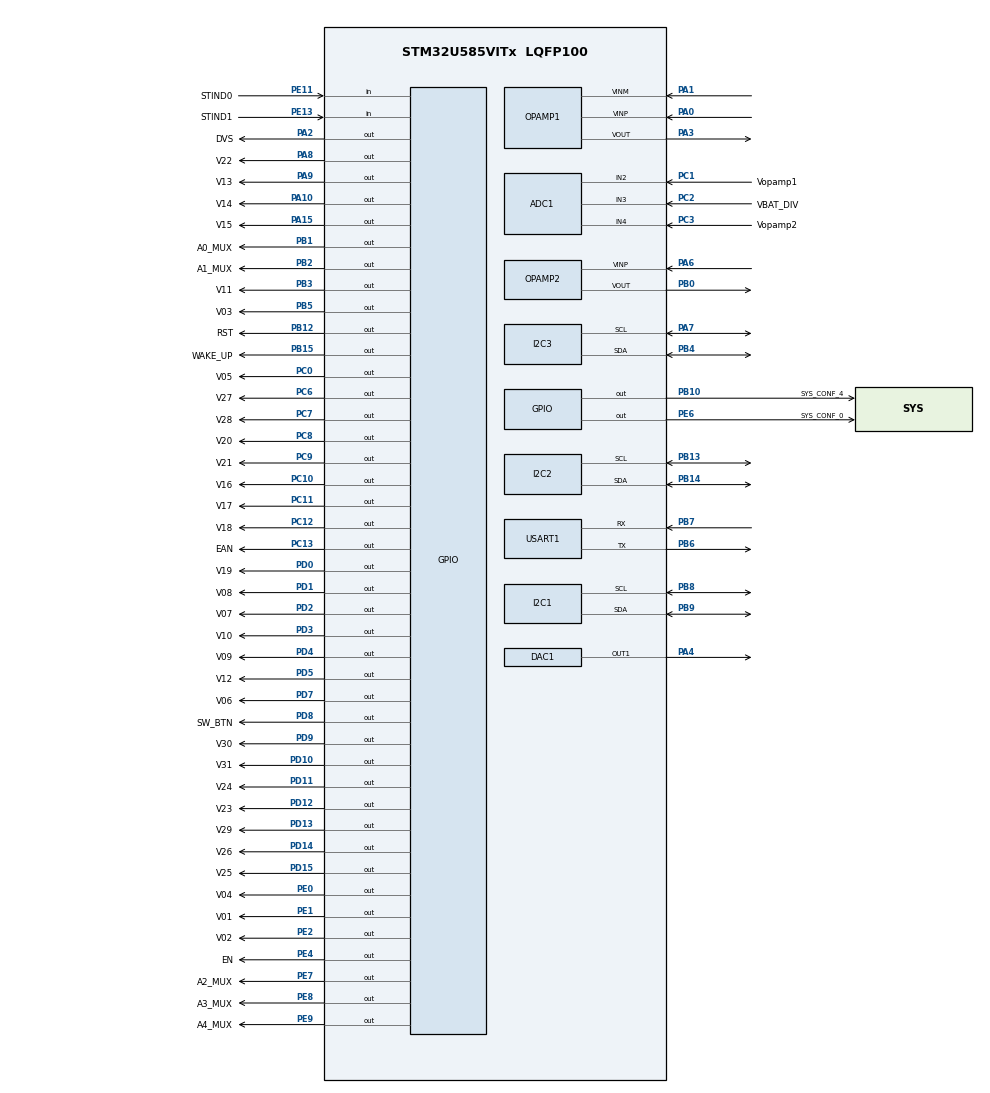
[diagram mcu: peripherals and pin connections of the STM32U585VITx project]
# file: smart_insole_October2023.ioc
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ADC1.Channel-0\#ChannelRegularConversion=ADC_CHANNEL_2
ADC1.ClockPrescaler=ADC_CLOCK_ASYNC_DIV4
ADC1.ContinuousConvMode=ENABLE
ADC1.EnableRegularConversion=ENABLE
ADC1.GainCompensation=0
ADC1.MonitoredBy-0\#ChannelRegularConversion=__NULL
ADC1.NbrOfConversion=1
ADC1.NbrOfConversionFlag=1
ADC1.OffsetNumber-0\#ChannelRegularConversion=ADC_OFFSET_NONE
ADC1.Rank-0\#ChannelRegularConversion=1
ADC1.SamplingTime-0\#ChannelRegularConversion=ADC_SAMPLETIME_5CYCLE
ADC1.master=1
CORTEX_M33_NS.userName=CORTEX_M33
DAC1.DAC_Channel-DAC_OUT1=DAC_CHANNEL_1
I2C1.Timing=0x00000E14
I2C2.Timing=0x00000E14
I2C3.Timing=0x00000E14
Mcu.Family=STM32U5
Mcu.Name=STM32U585VITx
Mcu.Package=LQFP100
NVIC.PriorityGroup=NVIC_PRIORITYGROUP_4
NVIC.TIM1_BRK_IRQn=true\:0\:0\:false\:false\:true\:true\:true\:true
NVIC.TIM1_CC_IRQn=true\:0\:0\:false\:false\:true\:true\:true\:true
NVIC.TIM1_TRG_COM_IRQn=true\:0\:0\:false\:false\:true\:true\:true\:true
NVIC.TIM1_UP_IRQn=true\:0\:0\:false\:false\:true\:true\:true\:true
NVIC.TIM2_IRQn=true\:0\:0\:false\:false\:true\:true\:true\:true
OPAMP1.PgaGain=OPAMP_PGA_GAIN_4
PA0.Mode=PGA Connected
PA0.Signal=OPAMP1_VINP
PA1.Mode=PGA Connected
PA1.Signal=OPAMP1_VINM
PA10.GPIO_Label=V14
PA10.Signal=GPIO_Output
PA11.Signal=USART1_CTS
PA12.Signal=USART1_RTS
PA13\ (JTMS/SWDIO).Signal=DEBUG_JTMS-SWDIO
PA14\ (JTCK/SWCLK).Signal=DEBUG_JTCK-SWCLK
PA15\ (JTDI).GPIO_Label=V15
PA15\ (JTDI).Signal=GPIO_Output
PA2.GPIO_Label=DVS
PA2.Signal=GPIO_Output
PA3.Mode=PGA Connected
PA3.Signal=OPAMP1_VOUT
PA4.Signal=COMP_DAC11_group
PA6.Mode=Follower
PA6.Signal=OPAMP2_VINP
PA7.Mode=I2C
PA7.Signal=I2C3_SCL
PA8.GPIO_Label=V22
PA8.Signal=GPIO_Output
PA9.GPIO_Label=V13
PA9.Signal=GPIO_Output
PB0.Mode=Follower
PB0.Signal=OPAMP2_VOUT
PB1.GPIO_Label=A0_MUX
PB1.Signal=GPIO_Output
PB10.GPIO_Label=SYS_CONF_4
PB10.Signal=GPIO_Output
PB12.GPIO_Label=RST
PB12.Signal=GPIO_Output
PB13.Mode=I2C
PB13.Signal=I2C2_SCL
PB14.Mode=I2C
PB14.Signal=I2C2_SDA
PB15.GPIO_Label=WAKE_UP
PB15.Signal=GPIO_Output
PB2.GPIO_Label=A1_MUX
PB2.Signal=GPIO_Output
PB3\ (JTDO/TRACESWO).GPIO_Label=V11
PB3\ (JTDO/TRACESWO).Signal=GPIO_Output
PB4\ (NJTRST).Mode=I2C
PB4\ (NJTRST).Signal=I2C3_SDA
PB5.GPIO_Label=V03
PB5.Signal=GPIO_Output
PB6.Mode=Asynchronous
PB6.Signal=USART1_TX
PB7.Mode=Asynchronous
PB7.Signal=USART1_RX
PB8.Mode=I2C
PB8.Signal=I2C1_SCL
PB9.Mode=I2C
PB9.Signal=I2C1_SDA
PC0.GPIO_Label=V05
PC0.Signal=GPIO_Output
PC1.GPIO_Label=Vopamp1
PC1.Mode=IN2-Single-Ended
PC1.Signal=ADC1_IN2
PC10.GPIO_Label=V16
PC10.Signal=GPIO_Output
PC11.GPIO_Label=V17
PC11.Signal=GPIO_Output
PC12.GPIO_Label=V18
PC12.Signal=GPIO_Output
PC13.GPIO_Label=EAN
PC13.Signal=GPIO_Output
PC2.GPIO_Label=VBAT_DIV
PC2.Mode=IN3-Single-Ended
PC2.Signal=ADC1_IN3
PC3.GPIO_Label=Vopamp2
PC3.Mode=IN4-Single-Ended
PC3.Signal=ADC1_IN4
PC6.GPIO_Label=V27
PC6.Signal=GPIO_Output
PC7.GPIO_Label=V28
PC7.Signal=GPIO_Output
PC8.GPIO_Label=V20
PC8.Signal=GPIO_Output
PC9.GPIO_Label=V21
PC9.Signal=GPIO_Output
PD0.GPIO_Label=V19
PD0.Signal=GPIO_Output
PD1.GPIO_Label=V08
PD1.Signal=GPIO_Output
PD10.GPIO_Label=V31
PD10.Signal=GPIO_Output
PD11.GPIO_Label=V24
PD11.Signal=GPIO_Output
PD12.GPIO_Label=V23
PD12.Signal=GPIO_Output
PD13.GPIO_Label=V29
PD13.Signal=GPIO_Output
PD14.GPIO_Label=V26
PD14.Signal=GPIO_Output
PD15.GPIO_Label=V25
PD15.Signal=GPIO_Output
PD2.GPIO_Label=V07
PD2.Signal=GPIO_Output
PD3.GPIO_Label=V10
PD3.Signal=GPIO_Output
PD4.GPIO_Label=V09
PD4.Signal=GPIO_Output
PD5.GPIO_Label=V12
PD5.Signal=GPIO_Output
PD7.GPIO_Label=V06
PD7.Signal=GPIO_Output
PD8.GPIO_Label=SW_BTN
PD8.Signal=GPIO_Output
PD9.GPIO_Label=V30
PD9.Signal=GPIO_Output
PE0.GPIO_Label=V04
PE0.Signal=GPIO_Output
PE1.GPIO_Label=V01
PE1.Signal=GPIO_Output
PE11.GPIO_Label=STIND0
PE11.Signal=GPIO_Input
PE12.Signal=SPI1_NSS
PE13.GPIO_Label=STIND1
PE13.Signal=GPIO_Input
PE14.Signal=SPI1_MISO
PE15.Signal=SPI1_MOSI
PE2.GPIO_Label=V02
PE2.Signal=GPIO_Output
PE4.GPIO_Label=EN
PE4.Signal=GPIO_Output
PE6.GPIO_Label=SYS_CONF_0
PE6.Signal=GPIO_Output
PE7.GPIO_Label=A2_MUX
PE7.Signal=GPIO_Output
PE8.GPIO_Label=A3_MUX
PE8.Signal=GPIO_Output
PE9.GPIO_Label=A4_MUX
PE9.Signal=GPIO_Output
ProjectManager.HeapSize=0x200
ProjectManager.StackSize=0x400
ProjectManager.TargetToolchain=STM32CubeIDE
RCC.ADCFreq_Value=16000000
RCC.APB2Freq_Value=4000000
RCC.APB2TimFreq_Value=4000000
RCC.DACCLockSelectionVirtual=RCC_DAC1CLKSOURCE_LSI
RCC.DACCLockSelectionVirtualString=RCC_DAC1CLKSOURCE_LSI
RCC.EPOD_VALUE=4000000
RCC.HSE_VALUE=16000000
RCC.HSI48_VALUE=48000000
RCC.HSI_VALUE=16000000
RCC.LSE_VALUE=32768
RCC.LSIDIV_VALUE=32000
RCC.MSI_VALUE=4000000
RCC.USBFreq_Value=48000000
RCC.VCOOutputFreq_Value=516000000
SH.COMP_DAC11_group.0=DAC1_OUT1,DAC_OUT1
TIM1.AutoReloadPreload=TIM_AUTORELOAD_PRELOAD_ENABLE
TIM1.PeriodNoDither=32000
TIM1.Prescaler=1000
TIM2.Channel-Output\ Compare1\ No\ Output=TIM_CHANNEL_1
TIM2.PeriodNoDither=4000000
USART1.VirtualMode-Asynchronous=VM_ASYNC
VP_TIM1_VS_ClockSourceINT.Mode=Internal
VP_TIM2_VS_ClockSourceITR.Mode=TriggerSource_ITR0
VP_TIM2_VS_ControllerModeTrigger.Mode=Trigger Mode
VP_TIM2_VS_no_output1.Mode=Output Compare1 No Output
board=custom

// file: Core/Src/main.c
/* USER CODE BEGIN Header */
/**
  ******************************************************************************
  * @file           : main.c
  * @brief          : Main program body
  ******************************************************************************
  * @attention
  *
  * Copyright (c) 2023 STMicroelectronics.
  * All rights reserved.
  *
  * This software is licensed under terms that can be found in the LICENSE file
  * in the root directory of this software component.
  * If no LICENSE file comes with this software, it is provided AS-IS.
  *
  ******************************************************************************
  */
/* USER CODE END Header */
#include "main.h"

/* USER CODE BEGIN Includes */
#include <string.h>
/* USER CODE END Includes */

/* USER CODE BEGIN PD */
#define NUMBER_OF_SENSORS  				 31
#define MAX                				 100

/* Configure MAX77874 Buck Converter */
#define MAX77874_BUCK_CONV_SLAVE_ADDRESS 0x61
#define MAX77874_BUCK_CONV_READ_ADDRESS  0xC1
#define MAX77874_BUCK_CONV_WRITE_ADDRESS 0xC2

#define START_BIT						 15615.0
#define STOP_BIT						 15700.0
/* Value of analog reference voltage (Vref+), connected to analog voltage   */
/* supply Vdda (unit: mV).                                                  */
#define VDDA_APPLI                       (3300UL)

/* Init variable out of expected ADC conversion data range */
#define VAR_CONVERTED_DATA_INIT_VALUE    (__LL_ADC_DIGITAL_SCALE(ADC1, LL_ADC_RESOLUTION_12B) + 1)
/* RX buffer size -1*/
#define UART_RX_IDX_MAX 				 127
#define BM78_I2C_ADDRESS 				 0x28 //BM78 Bluetooth module I2C address ??? not sure
/* USER CODE END PD */

ADC_HandleTypeDef hadc1;

DAC_HandleTypeDef hdac1;

I2C_HandleTypeDef hi2c1;
I2C_HandleTypeDef hi2c2;
I2C_HandleTypeDef hi2c3;

OPAMP_HandleTypeDef hopamp1;
OPAMP_HandleTypeDef hopamp2;

TIM_HandleTypeDef htim1;
TIM_HandleTypeDef htim2;

UART_HandleTypeDef huart1;

/* USER CODE BEGIN PV */
uint32_t 		 value_adc[NUMBER_OF_SENSORS];    // force sensor values read by ADC in every measurement
uint32_t		 value_BAT;                       // state of battery voltage
uint64_t         modules_state_uint = 0xFFFFFFFF;
char			 uart_rx_buf[UART_RX_IDX_MAX+1];  //uart rx buffer

static volatile  uint8_t  autocontrol_timeout = 0;
static uint8_t   autocontrol            = 0; 				//if true, triggers auto control, if not does manual control

static float 	 pressure_map[NUMBER_OF_SENSORS];
static float     average_pressure_map[NUMBER_OF_SENSORS];
static float     previous_pressure_map[NUMBER_OF_SENSORS];
static int8_t    modules_state[NUMBER_OF_SENSORS];
static float 	 max_1 				    = 0.0;
static float 	 max_2 				    = 0.0;
static int 		 counter_average        = 0;  // nb of TIMER1 cycles
static int		 index_max_1			= 0;
static int 		 index_max_2			= 0;
static int       index_max_1_previous   = 0;
static int       index_max_2_previous   = 0;
static int 		 counter_modules_off    = 0;
const  int 		 select_pins_MUX[5]     = {A0_MUX_Pin, A1_MUX_Pin, A2_MUX_Pin, A3_MUX_Pin, A4_MUX_Pin};
const  uint16_t  value_dac              = 8; // DAC output value
const  char*     BM78_SetNameCmd        = "RIGHT_Insole\r\n"; // Replace with RIGHT/LEFT for each insole
static int 		 valve_pins[31]         = {V01_Pin, V02_Pin, V03_Pin, V04_Pin, V05_Pin, V06_Pin, V07_Pin, V08_Pin, V09_Pin, V10_Pin, V11_Pin,
										   V12_Pin, V13_Pin, V14_Pin, V15_Pin, V16_Pin, V17_Pin, V18_Pin, V19_Pin, V20_Pin, V21_Pin,
										   V22_Pin, V23_Pin, V24_Pin, V25_Pin, V26_Pin, V27_Pin, V28_Pin, V29_Pin, V30_Pin, V31_Pin};
GPIO_TypeDef*    pin_port[31]           = {GPIOE, GPIOE, GPIOB, GPIOE, GPIOC, GPIOB, GPIOD, GPIOD, GPIOD, GPIOD, GPIOB,
										   GPIOD, GPIOA, GPIOA, GPIOA, GPIOC, GPIOC, GPIOC, GPIOD, GPIOC, GPIOC,
										   GPIOA, GPIOD, GPIOD, GPIOD, GPIOD, GPIOC, GPIOC, GPIOD, GPIOD, GPIOD};

const uint16_t valve2SPIbit[] = {
		[0] = 0,
		[1] = 9,
		[2] = 20,
		[3] = 30,
		[4] = 40,
		[5] = 10,
		[6] = 21,
		[7] = 32,
		[8] = 31,
		[9] = 25,
		[10] = 11,
		[11] = 23,
		[12] = 22,
		[13] = 17,
		[14] = 26,
		[15] = 35, //ou 12
		[16] = 24,
		[17] = 18,
		[18] = 28,
		[19] = 27,
		[20] = 33,
		[21] = 13,
		[22] = 19,
		[23] = 29,
		[24] = 14,
		[25] = 2,
		[26] = 3,
		[27] = 15,
		[28] = 16,
		[29] = 4,
		[30] = 1,
		[31] = 5
};
const uint16_t Mes2Sensor[] = {
		[1] = 22,
		[2] = 17,
		[3] = 16,
		[4] = 5,
		[5] = 23,
		[6] = 18,
		[7] = 15,
		[8] = 9,
		[9] = 6,
		[10] = 24,
		[11] = 21,
		[12] = 14,
		[13] = 10,
		[14] = 32,
		[15] = 25,
		[16] = 20,
		[17] = 13,
		[18] = 11,
		[19] = 8,
		[20] = 26,
		[21] = 19,
		[22] = 12,
		[23] = 7,
		[24] = 32,
		[25] = 32,
		[26] = 4,
		[27] = 32,
		[28] = 1,
		[29] = 3,
		[30] = 32,
		[31] = 2
};

/*
const uint16_t Mes2Sensor[] = {
		[0] = 0,
		[1] = 27,
		[2] = 22,
		[3] = 21,
		[4] = 9,
		[5] = 28,
		[6] = 23,
		[7] = 20,
		[8] = 14,
		[9] = 10,
		[10] = 29,
		[11] = 24,
		[12] = 19,
		[13] = 15,
		[14] = 13,
		[15] = 30,
		[16] = 25,
		[17] = 18,
		[18] = 16,
		[19] = 12,
		[20] = 31,
		[21] = 24,
		[22] = 17,
		[23] = 11,
		[24] = 1,
		[25] = 4,
		[26] = 8,
		[27] = 2,
		[28] = 5,
		[29] = 7,
		[30] = 3,
		[31] = 6
};
*/

// ------------- CALIBRATION SLOPE CHARACTERISTICS ------------------------------- //
static float bias[NUMBER_OF_SENSORS] = {
		 [1] = -270,
		 [2] = -175,
		 [3] = -195,
		 [4] = -185,
		 [5] = -175,
		 [6] = -185,
		 [7] = -190,
		 [8] = -190,
		 [9] = -152,
		 [10] = -172,
		 [11] = -190,
		 [12] = -215,
		 [13] = -215,
		 [14] = -190,
		 [15] = -20,
		 [16] = -190,
		 [17] = -195,
		 [18] = -195,
		 [19] = -210,
		 [20] = -250,
		 [21] = -165,
		 [22] = -190,
		 [23] = -130
};
static float slope[NUMBER_OF_SENSORS] = {
		 [1] = 160,
		 [2] = 120,
		 [3] = 120,
		 [4] = 120,
		 [5] = 120,
		 [6] = 120,
		 [7] = 120,
		 [8] = 120,
		 [9] = 115,
		 [10] = 120,
		 [11] = 120,
		 [12] = 135,
		 [13] = 120,
		 [14] = 120,
		 [15] = 51,
		 [16] = 120,
		 [17] = 120,
		 [18] = 120,
		 [19] = 120,
		 [20] = 140,
		 [21] = 120,
		 [22] = 120,
		 [23] = 100
};

 /* Variable to report status of ADC group regular unitary conversion          */
 /*  0: ADC group regular unitary conversion is not completed                  */
 /*  1: ADC group regular unitary conversion is completed                      */
 /*  2: ADC group regular unitary conversion has not been started yet          */
 /*     (initial state)                                                        */
 __IO uint8_t ubAdcGrpRegularUnitaryConvStatus = 2; /* Variable set into ADC interruption callback */

 /* Variables for ADC conversion data */
 __IO uint16_t uhADCxConvertedData = VAR_CONVERTED_DATA_INIT_VALUE; /* ADC group regular conversion data */

 /* Variables for ADC conversion data computation to physical values */
 uint16_t uhADCxConvertedData_Voltage_mVolt = 0;  /* Value of voltage calculated from ADC conversion data (unit: mV) */
/* USER CODE END PV */

void SystemClock_Config(void);
static void SystemPower_Config(void);
static void MX_GPIO_Init(void);
static void MX_ADC1_Init(void);
static void MX_DAC1_Init(void);
static void MX_I2C1_Init(void);
static void MX_I2C2_Init(void);
static void MX_I2C3_Init(void);
static void MX_OPAMP1_Init(void);
static void MX_OPAMP2_Init(void);
static void MX_USART1_UART_Init(void);
static void MX_TIM1_Init(void);
static void MX_TIM2_Init(void);
/* USER CODE BEGIN PFP */
void    configure_MAX77874_buck_conv();    // configure buck converter
void    send_to_uart(float *pres_map);     // send force sensor data to UART and BLE
void 	select_mux_pin(uint16_t pin);      // select multiplexer pin
void    read_all_sensors();				   // read all the force sensor values
void 	control_valves(int n, int m);      // choose valves to turn on/off
void    find_high_pressure_spots();        // find the two maximum spots of array
void 	valves_autocontrol();
void 	create_pressure_map(float* map);   // create array with all force sensor values
void 	read_uart(void);
void    configure_bluetooth();             // configure bluetooth
void    select_ADC_channel();
HAL_StatusTypeDef BM78_SetDeviceName();
/* USER CODE END PFP */

int main(void)
{
  /* USER CODE BEGIN 1 */
	uint32_t old_time;
	uint32_t new_time;
  /* USER CODE END 1 */

  /* MCU Configuration--------------------------------------------------------*/

  /* Reset of all peripherals, Initializes the Flash interface and the Systick. */
  HAL_Init();

  /* Configure the system clock */
  SystemClock_Config();

  /* Configure the System Power */
  SystemPower_Config();

  /* Initialize all configured peripherals */
  MX_GPIO_Init();
  MX_ADC1_Init();
  MX_DAC1_Init();
  MX_I2C1_Init();
  MX_I2C2_Init();
  MX_I2C3_Init();
  MX_OPAMP1_Init();
  MX_OPAMP2_Init();
  MX_USART1_UART_Init();
  MX_TIM1_Init();
  MX_TIM2_Init();
  /* USER CODE BEGIN 2 */

  /*Init serial rx buffer with DMA*/
  HAL_UART_Receive_DMA(&huart1, (uint8_t *)uart_rx_buf, (UART_RX_IDX_MAX + 1));

  /*---------------- Perform ADC calibration ----------------------------------------------- */
  if (HAL_ADCEx_Calibration_Start(&hadc1, ADC_CALIB_OFFSET, ADC_SINGLE_ENDED) != HAL_OK)
   {
     /* Calibration Error */
     Error_Handler();
   }

  /*---------------- Configure MAX77874 Buck Converters ------------------------------------ */

  configure_MAX77874_buck_conv();

  /*---------------- Change Bluetooth module name ------------------------------------------ */

   if (BM78_SetDeviceName() != HAL_OK) {
     Error_Handler();
   }

   HAL_Delay(1000); // Delay for 1 second between commands (adjust as needed)

  /*---------------- Initialize Bluetooth BM78 module -------------------------------------- */

  configure_bluetooth();
  HAL_Delay(100);

  /*---------------- set all the select pins ----------------------------------------------- */
  for (int i=0; i<5; i++)
  {
	  if (i<2)	  HAL_GPIO_WritePin(GPIOB, select_pins_MUX[i], GPIO_PIN_RESET);
	  else   	  HAL_GPIO_WritePin(GPIOE, select_pins_MUX[i], GPIO_PIN_RESET);
  }

  for(int i=0; i<NUMBER_OF_SENSORS; i++){
  	  modules_state[i] = 1;  // set all modules state in the state storing array to 1
  	  HAL_GPIO_WritePin(pin_port[i], valve_pins[i], GPIO_PIN_SET);
   }

  /*--------------- start the timer -------------------------------------------------------- */
  /*## Start the Input Capture in interrupt mode ##########################*/
  if(HAL_TIM_Base_Start_IT(&htim1) != HAL_OK)
  {
    /* Starting Error */
    Error_Handler();
  }
  old_time = HAL_GetTick();

  /*--------------- start DAC -------------------------------------------------------------- */
  if (HAL_DAC_Start(&hdac1, DAC_CHANNEL_1) != HAL_OK)
  {
    /* Start Error */
    Error_Handler();
  }

  if (HAL_DAC_SetValue(&hdac1, DAC_CHANNEL_1, DAC_ALIGN_8B_R, value_dac) != HAL_OK)
  {
    /* Setting value Error */
    Error_Handler();
  }

  /* -------------- start opamps ------------------------------------------------------------*/
  HAL_OPAMP_Start(&hopamp1);
  HAL_OPAMP_Start(&hopamp2);

  /* USER CODE END 2 */

  /* Infinite loop */
  /* USER CODE BEGIN WHILE */
  while (1)
  {
	  read_all_sensors();

	  create_pressure_map(pressure_map);

	  for(int i=0; i<NUMBER_OF_SENSORS; i++){
		  average_pressure_map[i] = average_pressure_map[i] + pressure_map[i];
	  }
	  counter_average++;

	  if (autocontrol) {
		  if(autocontrol_timeout){
			  valves_autocontrol();
			  autocontrol_timeout = 0;
		  }
	  } else {
	  }

	  // use pressure_map and Bluetooth to send data to PC

	  send_to_uart(pressure_map);
	  read_uart();

	  // set all the select pins
	  for (int i=0; i<5; i++)
	  {
		  HAL_GPIO_WritePin(GPIOE, select_pins_MUX[i], GPIO_PIN_RESET);
	  }

	  //wait
	  do {
		  new_time = HAL_GetTick();
	  }	while ((new_time-old_time) < 10); //100Hz
	  old_time = new_time;

    /* USER CODE END WHILE */

  }
}

void SystemClock_Config(void)
{
  RCC_OscInitTypeDef RCC_OscInitStruct = {0};
  RCC_ClkInitTypeDef RCC_ClkInitStruct = {0};

  /** Configure the main internal regulator output voltage
  */
  if (HAL_PWREx_ControlVoltageScaling(PWR_REGULATOR_VOLTAGE_SCALE4) != HAL_OK)
  {
    Error_Handler();
  }

  /** Initializes the CPU, AHB and APB buses clocks
  */
  RCC_OscInitStruct.OscillatorType = RCC_OSCILLATORTYPE_HSI|RCC_OSCILLATORTYPE_LSI
                              |RCC_OSCILLATORTYPE_MSI;
  RCC_OscInitStruct.HSIState = RCC_HSI_ON;
  RCC_OscInitStruct.HSICalibrationValue = RCC_HSICALIBRATION_DEFAULT;
  RCC_OscInitStruct.LSIState = RCC_LSI_ON;
  RCC_OscInitStruct.MSIState = RCC_MSI_ON;
  RCC_OscInitStruct.MSICalibrationValue = RCC_MSICALIBRATION_DEFAULT;
  RCC_OscInitStruct.MSIClockRange = RCC_MSIRANGE_4;
  RCC_OscInitStruct.LSIDiv = RCC_LSI_DIV1;
  RCC_OscInitStruct.PLL.PLLState = RCC_PLL_NONE;
  if (HAL_RCC_OscConfig(&RCC_OscInitStruct) != HAL_OK)
  {
    Error_Handler();
  }

  /** Initializes the CPU, AHB and APB buses clocks
  */
  RCC_ClkInitStruct.ClockType = RCC_CLOCKTYPE_HCLK|RCC_CLOCKTYPE_SYSCLK
                              |RCC_CLOCKTYPE_PCLK1|RCC_CLOCKTYPE_PCLK2
                              |RCC_CLOCKTYPE_PCLK3;
  RCC_ClkInitStruct.SYSCLKSource = RCC_SYSCLKSOURCE_MSI;
  RCC_ClkInitStruct.AHBCLKDivider = RCC_SYSCLK_DIV1;
  RCC_ClkInitStruct.APB1CLKDivider = RCC_HCLK_DIV1;
  RCC_ClkInitStruct.APB2CLKDivider = RCC_HCLK_DIV1;
  RCC_ClkInitStruct.APB3CLKDivider = RCC_HCLK_DIV1;

  if (HAL_RCC_ClockConfig(&RCC_ClkInitStruct, FLASH_LATENCY_0) != HAL_OK)
  {
    Error_Handler();
  }
}

/**
  * @brief Power Configuration
  * @retval None
  */
static void SystemPower_Config(void)
{
}

static void MX_ADC1_Init(void)
{

  ADC_ChannelConfTypeDef sConfig = {0};

  /** Common config
  */
  hadc1.Instance = ADC1;
  hadc1.Init.ClockPrescaler = ADC_CLOCK_ASYNC_DIV4;
  hadc1.Init.Resolution = ADC_RESOLUTION_14B;
  hadc1.Init.GainCompensation = 0;
  hadc1.Init.ScanConvMode = ADC_SCAN_DISABLE;
  hadc1.Init.EOCSelection = ADC_EOC_SINGLE_CONV;
  hadc1.Init.LowPowerAutoWait = DISABLE;
  hadc1.Init.ContinuousConvMode = ENABLE;
  hadc1.Init.NbrOfConversion = 1;
  hadc1.Init.DiscontinuousConvMode = DISABLE;
  hadc1.Init.ExternalTrigConv = ADC_SOFTWARE_START;
  hadc1.Init.ExternalTrigConvEdge = ADC_EXTERNALTRIGCONVEDGE_NONE;
  hadc1.Init.DMAContinuousRequests = DISABLE;
  hadc1.Init.TriggerFrequencyMode = ADC_TRIGGER_FREQ_HIGH;
  hadc1.Init.Overrun = ADC_OVR_DATA_PRESERVED;
  hadc1.Init.LeftBitShift = ADC_LEFTBITSHIFT_NONE;
  hadc1.Init.ConversionDataManagement = ADC_CONVERSIONDATA_DR;
  hadc1.Init.OversamplingMode = DISABLE;
  if (HAL_ADC_Init(&hadc1) != HAL_OK)
  {
    Error_Handler();
  }

  /** Configure Regular Channel
  */
  sConfig.Channel = ADC_CHANNEL_2;
  sConfig.Rank = ADC_REGULAR_RANK_1;
  sConfig.SamplingTime = ADC_SAMPLETIME_5CYCLE;
  sConfig.SingleDiff = ADC_SINGLE_ENDED;
  sConfig.OffsetNumber = ADC_OFFSET_NONE;
  sConfig.Offset = 0;
  if (HAL_ADC_ConfigChannel(&hadc1, &sConfig) != HAL_OK)
  {
    Error_Handler();
  }

}

static void MX_DAC1_Init(void)
{

  DAC_ChannelConfTypeDef sConfig = {0};
  DAC_AutonomousModeConfTypeDef sAutonomousMode = {0};

  /** DAC Initialization
  */
  hdac1.Instance = DAC1;
  if (HAL_DAC_Init(&hdac1) != HAL_OK)
  {
    Error_Handler();
  }

  /** DAC channel OUT1 config
  */
  sConfig.DAC_HighFrequency = DAC_HIGH_FREQUENCY_INTERFACE_MODE_DISABLE;
  sConfig.DAC_DMADoubleDataMode = DISABLE;
  sConfig.DAC_SignedFormat = DISABLE;
  sConfig.DAC_SampleAndHold = DAC_SAMPLEANDHOLD_DISABLE;
  sConfig.DAC_Trigger = DAC_TRIGGER_NONE;
  sConfig.DAC_OutputBuffer = DAC_OUTPUTBUFFER_ENABLE;
  sConfig.DAC_ConnectOnChipPeripheral = DAC_CHIPCONNECT_EXTERNAL;
  sConfig.DAC_UserTrimming = DAC_TRIMMING_FACTORY;
  if (HAL_DAC_ConfigChannel(&hdac1, &sConfig, DAC_CHANNEL_1) != HAL_OK)
  {
    Error_Handler();
  }

  /** Configure Autonomous Mode
  */
  sAutonomousMode.AutonomousModeState = DAC_AUTONOMOUS_MODE_DISABLE;
  if (HAL_DACEx_SetConfigAutonomousMode(&hdac1, &sAutonomousMode) != HAL_OK)
  {
    Error_Handler();
  }

}

static void MX_I2C1_Init(void)
{

  hi2c1.Instance = I2C1;
  hi2c1.Init.Timing = 0x00000E14;
  hi2c1.Init.OwnAddress1 = 0;
  hi2c1.Init.AddressingMode = I2C_ADDRESSINGMODE_7BIT;
  hi2c1.Init.DualAddressMode = I2C_DUALADDRESS_DISABLE;
  hi2c1.Init.OwnAddress2 = 0;
  hi2c1.Init.OwnAddress2Masks = I2C_OA2_NOMASK;
  hi2c1.Init.GeneralCallMode = I2C_GENERALCALL_DISABLE;
  hi2c1.Init.NoStretchMode = I2C_NOSTRETCH_DISABLE;
  if (HAL_I2C_Init(&hi2c1) != HAL_OK)
  {
    Error_Handler();
  }

  /** Configure Analogue filter
  */
  if (HAL_I2CEx_ConfigAnalogFilter(&hi2c1, I2C_ANALOGFILTER_ENABLE) != HAL_OK)
  {
    Error_Handler();
  }

  /** Configure Digital filter
  */
  if (HAL_I2CEx_ConfigDigitalFilter(&hi2c1, 0) != HAL_OK)
  {
    Error_Handler();
  }

}

static void MX_I2C2_Init(void)
{

  hi2c2.Instance = I2C2;
  hi2c2.Init.Timing = 0x00000E14;
  hi2c2.Init.OwnAddress1 = 0;
  hi2c2.Init.AddressingMode = I2C_ADDRESSINGMODE_7BIT;
  hi2c2.Init.DualAddressMode = I2C_DUALADDRESS_DISABLE;
  hi2c2.Init.OwnAddress2 = 0;
  hi2c2.Init.OwnAddress2Masks = I2C_OA2_NOMASK;
  hi2c2.Init.GeneralCallMode = I2C_GENERALCALL_DISABLE;
  hi2c2.Init.NoStretchMode = I2C_NOSTRETCH_DISABLE;
  if (HAL_I2C_Init(&hi2c2) != HAL_OK)
  {
    Error_Handler();
  }

  /** Configure Analogue filter
  */
  if (HAL_I2CEx_ConfigAnalogFilter(&hi2c2, I2C_ANALOGFILTER_ENABLE) != HAL_OK)
  {
    Error_Handler();
  }

  /** Configure Digital filter
  */
  if (HAL_I2CEx_ConfigDigitalFilter(&hi2c2, 0) != HAL_OK)
  {
    Error_Handler();
  }

}

static void MX_I2C3_Init(void)
{

  hi2c3.Instance = I2C3;
  hi2c3.Init.Timing = 0x00000E14;
  hi2c3.Init.OwnAddress1 = 0;
  hi2c3.Init.AddressingMode = I2C_ADDRESSINGMODE_7BIT;
  hi2c3.Init.DualAddressMode = I2C_DUALADDRESS_DISABLE;
  hi2c3.Init.OwnAddress2 = 0;
  hi2c3.Init.OwnAddress2Masks = I2C_OA2_NOMASK;
  hi2c3.Init.GeneralCallMode = I2C_GENERALCALL_DISABLE;
  hi2c3.Init.NoStretchMode = I2C_NOSTRETCH_DISABLE;
  if (HAL_I2C_Init(&hi2c3) != HAL_OK)
  {
    Error_Handler();
  }

  /** Configure Analogue filter
  */
  if (HAL_I2CEx_ConfigAnalogFilter(&hi2c3, I2C_ANALOGFILTER_ENABLE) != HAL_OK)
  {
    Error_Handler();
  }

  /** Configure Digital filter
  */
  if (HAL_I2CEx_ConfigDigitalFilter(&hi2c3, 0) != HAL_OK)
  {
    Error_Handler();
  }

}

static void MX_OPAMP1_Init(void)
{

  hopamp1.Instance = OPAMP1;
  hopamp1.Init.PowerSupplyRange = OPAMP_POWERSUPPLY_HIGH;
  hopamp1.Init.Mode = OPAMP_PGA_MODE;
  hopamp1.Init.NonInvertingInput = OPAMP_NONINVERTINGINPUT_IO0;
  hopamp1.Init.InvertingInput = OPAMP_INVERTINGINPUT_IO0;
  hopamp1.Init.PowerMode = OPAMP_POWERMODE_NORMALPOWER_NORMALSPEED;
  hopamp1.Init.PgaGain = OPAMP_PGA_GAIN_4;
  hopamp1.Init.UserTrimming = OPAMP_TRIMMING_FACTORY;
  if (HAL_OPAMP_Init(&hopamp1) != HAL_OK)
  {
    Error_Handler();
  }

}

static void MX_OPAMP2_Init(void)
{

  hopamp2.Instance = OPAMP2;
  hopamp2.Init.PowerSupplyRange = OPAMP_POWERSUPPLY_HIGH;
  hopamp2.Init.Mode = OPAMP_FOLLOWER_MODE;
  hopamp2.Init.NonInvertingInput = OPAMP_NONINVERTINGINPUT_IO0;
  hopamp2.Init.PowerMode = OPAMP_POWERMODE_NORMALPOWER_NORMALSPEED;
  hopamp2.Init.UserTrimming = OPAMP_TRIMMING_FACTORY;
  if (HAL_OPAMP_Init(&hopamp2) != HAL_OK)
  {
    Error_Handler();
  }

}

static void MX_TIM1_Init(void)
{

  TIM_ClockConfigTypeDef sClockSourceConfig = {0};
  TIM_MasterConfigTypeDef sMasterConfig = {0};

  htim1.Instance = TIM1;
  htim1.Init.Prescaler = 1000;
  htim1.Init.CounterMode = TIM_COUNTERMODE_UP;
  htim1.Init.Period = 32000;
  htim1.Init.ClockDivision = TIM_CLOCKDIVISION_DIV1;
  htim1.Init.RepetitionCounter = 0;
  htim1.Init.AutoReloadPreload = TIM_AUTORELOAD_PRELOAD_ENABLE;
  if (HAL_TIM_Base_Init(&htim1) != HAL_OK)
  {
    Error_Handler();
  }
  sClockSourceConfig.ClockSource = TIM_CLOCKSOURCE_INTERNAL;
  if (HAL_TIM_ConfigClockSource(&htim1, &sClockSourceConfig) != HAL_OK)
  {
    Error_Handler();
  }
  sMasterConfig.MasterOutputTrigger = TIM_TRGO_RESET;
  sMasterConfig.MasterOutputTrigger2 = TIM_TRGO2_RESET;
  sMasterConfig.MasterSlaveMode = TIM_MASTERSLAVEMODE_DISABLE;
  if (HAL_TIMEx_MasterConfigSynchronization(&htim1, &sMasterConfig) != HAL_OK)
  {
    Error_Handler();
  }

}

static void MX_TIM2_Init(void)
{

  TIM_SlaveConfigTypeDef sSlaveConfig = {0};
  TIM_MasterConfigTypeDef sMasterConfig = {0};
  TIM_OC_InitTypeDef sConfigOC = {0};

  htim2.Instance = TIM2;
  htim2.Init.Prescaler = 0;
  htim2.Init.CounterMode = TIM_COUNTERMODE_UP;
  htim2.Init.Period = 4000000;
  htim2.Init.ClockDivision = TIM_CLOCKDIVISION_DIV1;
  htim2.Init.AutoReloadPreload = TIM_AUTORELOAD_PRELOAD_DISABLE;
  if (HAL_TIM_Base_Init(&htim2) != HAL_OK)
  {
    Error_Handler();
  }
  if (HAL_TIM_OC_Init(&htim2) != HAL_OK)
  {
    Error_Handler();
  }
  sSlaveConfig.SlaveMode = TIM_SLAVEMODE_TRIGGER;
  sSlaveConfig.InputTrigger = TIM_TS_ITR0;
  if (HAL_TIM_SlaveConfigSynchro(&htim2, &sSlaveConfig) != HAL_OK)
  {
    Error_Handler();
  }
  sMasterConfig.MasterOutputTrigger = TIM_TRGO_RESET;
  sMasterConfig.MasterSlaveMode = TIM_MASTERSLAVEMODE_DISABLE;
  if (HAL_TIMEx_MasterConfigSynchronization(&htim2, &sMasterConfig) != HAL_OK)
  {
    Error_Handler();
  }
  sConfigOC.OCMode = TIM_OCMODE_TIMING;
  sConfigOC.Pulse = 0;
  sConfigOC.OCPolarity = TIM_OCPOLARITY_HIGH;
  sConfigOC.OCFastMode = TIM_OCFAST_DISABLE;
  if (HAL_TIM_OC_ConfigChannel(&htim2, &sConfigOC, TIM_CHANNEL_1) != HAL_OK)
  {
    Error_Handler();
  }

}

static void MX_USART1_UART_Init(void)
{

  huart1.Instance = USART1;
  huart1.Init.BaudRate = 115200;
  huart1.Init.WordLength = UART_WORDLENGTH_8B;
  huart1.Init.StopBits = UART_STOPBITS_1;
  huart1.Init.Parity = UART_PARITY_NONE;
  huart1.Init.Mode = UART_MODE_TX_RX;
  huart1.Init.HwFlowCtl = UART_HWCONTROL_NONE;
  huart1.Init.OverSampling = UART_OVERSAMPLING_16;
  huart1.Init.OneBitSampling = UART_ONE_BIT_SAMPLE_DISABLE;
  huart1.Init.ClockPrescaler = UART_PRESCALER_DIV1;
  huart1.AdvancedInit.AdvFeatureInit = UART_ADVFEATURE_NO_INIT;
  if (HAL_UART_Init(&huart1) != HAL_OK)
  {
    Error_Handler();
  }
  if (HAL_UARTEx_SetTxFifoThreshold(&huart1, UART_TXFIFO_THRESHOLD_1_8) != HAL_OK)
  {
    Error_Handler();
  }
  if (HAL_UARTEx_SetRxFifoThreshold(&huart1, UART_RXFIFO_THRESHOLD_1_8) != HAL_OK)
  {
    Error_Handler();
  }
  if (HAL_UARTEx_DisableFifoMode(&huart1) != HAL_OK)
  {
    Error_Handler();
  }

}

static void MX_GPIO_Init(void)
{
  GPIO_InitTypeDef GPIO_InitStruct = {0};

  /* GPIO Ports Clock Enable */
  __HAL_RCC_GPIOE_CLK_ENABLE();
  __HAL_RCC_GPIOC_CLK_ENABLE();
  __HAL_RCC_GPIOA_CLK_ENABLE();
  __HAL_RCC_GPIOB_CLK_ENABLE();
  __HAL_RCC_GPIOD_CLK_ENABLE();

  /*Configure GPIO pin Output Level */
  HAL_GPIO_WritePin(GPIOE, V02_Pin|EN_Pin|SYS_CONF_0_Pin|A2_MUX_Pin
                          |A3_MUX_Pin|A4_MUX_Pin|V04_Pin|V01_Pin, GPIO_PIN_RESET);

  /*Configure GPIO pin Output Level */
  HAL_GPIO_WritePin(GPIOC, EAN_Pin|V05_Pin|V27_Pin|V28_Pin
                          |V20_Pin|V21_Pin|V16_Pin|V17_Pin
                          |V18_Pin, GPIO_PIN_RESET);

  /*Configure GPIO pin Output Level */
  HAL_GPIO_WritePin(GPIOA, DVS_Pin|V22_Pin|V13_Pin|V14_Pin
                          |V15_Pin, GPIO_PIN_RESET);

  /*Configure GPIO pin Output Level */
  HAL_GPIO_WritePin(GPIOB, A0_MUX_Pin|A1_MUX_Pin|SYS_CONF_4_Pin|RST_Pin
                          |WAKE_UP_Pin|V11_Pin|V03_Pin, GPIO_PIN_RESET);

  /*Configure GPIO pin Output Level */
  HAL_GPIO_WritePin(GPIOD, SW_BTN_Pin|V30_Pin|V31_Pin|V24_Pin
                          |V23_Pin|V29_Pin|V26_Pin|V25_Pin
                          |V19_Pin|V08_Pin|V07_Pin|V10_Pin
                          |V09_Pin|V12_Pin|V06_Pin, GPIO_PIN_RESET);

  /*Configure GPIO pins : V02_Pin EN_Pin SYS_CONF_0_Pin A2_MUX_Pin
                           A3_MUX_Pin A4_MUX_Pin V04_Pin V01_Pin */
  GPIO_InitStruct.Pin = V02_Pin|EN_Pin|SYS_CONF_0_Pin|A2_MUX_Pin
                          |A3_MUX_Pin|A4_MUX_Pin|V04_Pin|V01_Pin;
  GPIO_InitStruct.Mode = GPIO_MODE_OUTPUT_PP;
  GPIO_InitStruct.Pull = GPIO_NOPULL;
  GPIO_InitStruct.Speed = GPIO_SPEED_FREQ_LOW;
  HAL_GPIO_Init(GPIOE, &GPIO_InitStruct);

  /*Configure GPIO pins : EAN_Pin V05_Pin V27_Pin V28_Pin
                           V20_Pin V21_Pin V16_Pin V17_Pin
                           V18_Pin */
  GPIO_InitStruct.Pin = EAN_Pin|V05_Pin|V27_Pin|V28_Pin
                          |V20_Pin|V21_Pin|V16_Pin|V17_Pin
                          |V18_Pin;
  GPIO_InitStruct.Mode = GPIO_MODE_OUTPUT_PP;
  GPIO_InitStruct.Pull = GPIO_NOPULL;
  GPIO_InitStruct.Speed = GPIO_SPEED_FREQ_LOW;
  HAL_GPIO_Init(GPIOC, &GPIO_InitStruct);

  /*Configure GPIO pins : DVS_Pin V22_Pin V13_Pin V14_Pin
                           V15_Pin */
  GPIO_InitStruct.Pin = DVS_Pin|V22_Pin|V13_Pin|V14_Pin
                          |V15_Pin;
  GPIO_InitStruct.Mode = GPIO_MODE_OUTPUT_PP;
  GPIO_InitStruct.Pull = GPIO_NOPULL;
  GPIO_InitStruct.Speed = GPIO_SPEED_FREQ_LOW;
  HAL_GPIO_Init(GPIOA, &GPIO_InitStruct);

  /*Configure GPIO pins : A0_MUX_Pin A1_MUX_Pin SYS_CONF_4_Pin RST_Pin
                           WAKE_UP_Pin V11_Pin V03_Pin */
  GPIO_InitStruct.Pin = A0_MUX_Pin|A1_MUX_Pin|SYS_CONF_4_Pin|RST_Pin
                          |WAKE_UP_Pin|V11_Pin|V03_Pin;
  GPIO_InitStruct.Mode = GPIO_MODE_OUTPUT_PP;
  GPIO_InitStruct.Pull = GPIO_NOPULL;
  GPIO_InitStruct.Speed = GPIO_SPEED_FREQ_LOW;
  HAL_GPIO_Init(GPIOB, &GPIO_InitStruct);

  /*Configure GPIO pins : STIND0_Pin STIND1_Pin */
  GPIO_InitStruct.Pin = STIND0_Pin|STIND1_Pin;
  GPIO_InitStruct.Mode = GPIO_MODE_INPUT;
  GPIO_InitStruct.Pull = GPIO_NOPULL;
  HAL_GPIO_Init(GPIOE, &GPIO_InitStruct);

  /*Configure GPIO pins : PE12 PE14 PE15 */
  GPIO_InitStruct.Pin = GPIO_PIN_12|GPIO_PIN_14|GPIO_PIN_15;
  GPIO_InitStruct.Mode = GPIO_MODE_AF_PP;
  GPIO_InitStruct.Pull = GPIO_NOPULL;
  GPIO_InitStruct.Speed = GPIO_SPEED_FREQ_LOW;
  GPIO_InitStruct.Alternate = GPIO_AF5_SPI1;
  HAL_GPIO_Init(GPIOE, &GPIO_InitStruct);

  /*Configure GPIO pins : SW_BTN_Pin V30_Pin V31_Pin V24_Pin
                           V23_Pin V29_Pin V26_Pin V25_Pin
                           V19_Pin V08_Pin V07_Pin V10_Pin
                           V09_Pin V12_Pin V06_Pin */
  GPIO_InitStruct.Pin = SW_BTN_Pin|V30_Pin|V31_Pin|V24_Pin
                          |V23_Pin|V29_Pin|V26_Pin|V25_Pin
                          |V19_Pin|V08_Pin|V07_Pin|V10_Pin
                          |V09_Pin|V12_Pin|V06_Pin;
  GPIO_InitStruct.Mode = GPIO_MODE_OUTPUT_PP;
  GPIO_InitStruct.Pull = GPIO_NOPULL;
  GPIO_InitStruct.Speed = GPIO_SPEED_FREQ_LOW;
  HAL_GPIO_Init(GPIOD, &GPIO_InitStruct);

}

/* USER CODE BEGIN 4 */
/*------------- CUSTOM MADE FUNCTIONS -----------------------------------------------------*/
/*-----------------------------------------------------------------------------------------*/
/*-----------------------------------------------------------------------------------------*/

void read_all_sensors(){

  uint32_t old_timeAD, new_timeAD;
  for (int i=0; i<(NUMBER_OF_SENSORS+1); i++)
  {

	  // configure mux pins

	  select_mux_pin(i);

	  old_timeAD = HAL_GetTick();

	  //warning Attention au timing

	  do {
	 	  new_timeAD = HAL_GetTick();
	  }	while ((new_timeAD-old_timeAD) < 10);

	  HAL_ADC_Start(&hadc1); // start the ADC

	  HAL_ADC_PollForConversion(&hadc1, 1000);  // poll for conversion

	  value_adc[i] = HAL_ADC_GetValue(&hadc1);  // store adc value in value

	  HAL_ADC_Stop(&hadc1);
  }

}

void create_pressure_map(float* map)
{
	int8_t i;
	static float analog_vol[NUMBER_OF_SENSORS];
	// calibration curves, slope & bias

	for(i=0; i<NUMBER_OF_SENSORS; i++){
		analog_vol[i] = value_adc[Mes2Sensor[i+1]-1] * 3.3 / 4095.0;
	}

	// calculate force according to calibration curves
	for(i=0; i<NUMBER_OF_SENSORS; i++){
		map[i] = 0.1*(slope[i+1] * analog_vol[i] + bias[i+1]);
		//map[i] = analog_vol[i];
	}
}

/*void set_valve (uint8_t numv)
{
	int16_t i;
	int16_t num;
	if (numv == 0) {
		for (i = 0; i < 5; i++) data_written_spi[i] = 0xFF;
	} else {
		num = valve2SPIbit[numv] - 1;
		for (i = 0; i < 5; i++){
			if ((num >= 0) && (num <= 7)){
				data_written_spi[i] |= (1U << num);
			}
			num -= 8;
		}
	}

	char tmp[4];
	tmp[0] = 'S';
	tmp[1] = numv + '0';
	tmp[2] = '\n';
	HAL_UART_Transmit_IT(&huart4, (uint8_t*) tmp, 3);
	*//*
}*/

/*void clear_valve (uint8_t numv)
{
	int16_t i;
	int16_t num;
	if (numv == 0) {
		for (i = 0; i < 5; i++) data_written_spi[i] = 0;
	} else {
		num = valve2SPIbit[numv] - 1;
		for (i = 0; i < 5; i++){
			if ((num >= 0) && (num <= 7)){
				data_written_spi[i] &= ~(1U << num );
			}
			num -= 8;
		}
	}

	char tmp[4];
	tmp[0] = 'C';
	tmp[1] = numv + '0';
	tmp[2] = '\n';
	HAL_UART_Transmit_IT(&huart4, (uint8_t*) tmp, 3);
	*/
//}

void send_to_uart(float *pres_map)
{
    //uint8_t buffer[sizeof(float)*NUMBER_OF_SENSORS];
	uint8_t i;
	static float tmp[NUMBER_OF_SENSORS+2];
	tmp[0] = START_BIT;
	for (i=0;i<NUMBER_OF_SENSORS;i++) tmp[i+1] = pres_map[i];
	//for (i=0;i<5;i++) tmp[i+NUMBER_OF_SENSORS+1] = data_written_spi[i];
	tmp[NUMBER_OF_SENSORS+1] = STOP_BIT;
    HAL_UART_Transmit_IT(&huart1, (uint8_t*) tmp, sizeof(float)*(NUMBER_OF_SENSORS+2));
//	HAL_UART_Transmit_IT(&huart4, (uint8_t*) tmp, 10);
}

void read_uart(void)
{
	static uint16_t usart1_dma_ndtr_old = UART_RX_IDX_MAX + 1;
	static uint16_t sbuf_write = 0; //pointeur d'écriture dans le buffer
	static uint16_t sbuf_read = 0; //pointeur de lecture dans le buffer
	static uint8_t uart_rx_state = 0; //machine d'état pour la réception des commandes
	static uint8_t num = 0; //number of the actuator to be set, cleared
	static char action = 0;

	char last_char;
	if (huart1.hdmarx!=NULL) {
		uint16_t usart1_dma_ndtr;
		usart1_dma_ndtr = huart1.hdmarx->Instance->CBR1;
		sbuf_write += ((usart1_dma_ndtr_old - usart1_dma_ndtr) & UART_RX_IDX_MAX);
		usart1_dma_ndtr_old = usart1_dma_ndtr;
	}
	while ((uint16_t)(sbuf_write - sbuf_read) > 0){
		last_char = uart_rx_buf[sbuf_read & UART_RX_IDX_MAX];
		sbuf_read++;
		switch (uart_rx_state) {
			case 0:
				//synchronisation
				if ((last_char == 'S')||(last_char == 'C')) {
					uart_rx_state++;
					num = 0;
					action = last_char;
				}
				break;
			case 1:
				//lecture de la data
				if ((last_char == '\n')||(last_char == '\r')) {
					switch (action) {
						case 'S':
							//set_valve(num);
							break;
						case 'C':
							//clear_valve(num);
							break;
					}
					uart_rx_state = 0;
				} else {
					//si on a un mauvais caractère, il faut revenir à l'état de sync
					if ((last_char < '0') || (last_char > '9')) {
						uart_rx_state = 0;
					} else {
						num = num * 10 + last_char - '0';
					}
				}
				break;
		}
	}
}

void select_mux_pin(uint16_t pin)
{

	  for (int j=0; j<5; j++)
	  {
		if (pin & (1<<j))
		  HAL_GPIO_WritePin(GPIOE, select_pins_MUX[j], GPIO_PIN_SET);
		else
		  HAL_GPIO_WritePin(GPIOE, select_pins_MUX[j], GPIO_PIN_RESET);
	  }

}

/*---------------- Configure MAX77874 Buck Converter --------------------------------------*/

void    configure_MAX77874_buck_conv()
{

	  uint8_t i2c_data[2];

	  HAL_GPIO_WritePin(GPIOA, DVS_Pin, GPIO_PIN_RESET); // Set Dynamic Voltage Selection DVS to LOW

	  i2c_data[0] = 0x11;          // BUCK0CNFG1 address
	  i2c_data[1] = 0b11000010;    // 8bit data, 40mV/usec ramp rate

	  HAL_I2C_Master_Transmit(&hi2c1, MAX77874_BUCK_CONV_WRITE_ADDRESS, i2c_data, 2, 100); // Enable warm startup ramp rate
	  HAL_I2C_Master_Transmit(&hi2c2, MAX77874_BUCK_CONV_WRITE_ADDRESS, i2c_data, 2, 100); // Enable warm startup ramp rate
	  HAL_I2C_Master_Transmit(&hi2c3, MAX77874_BUCK_CONV_WRITE_ADDRESS, i2c_data, 2, 100); // Enable warm startup ramp rate

	  HAL_Delay(500);

	  i2c_data[0] = 0x21;          // I2C_SDO_VOUT address
	  i2c_data[1] = 70;            // Vout = 0.25V + 5mV*i2c_data[1]

	  HAL_I2C_Master_Transmit(&hi2c1, MAX77874_BUCK_CONV_WRITE_ADDRESS, i2c_data, 2, 100); // Select Output Voltage
	  HAL_I2C_Master_Transmit(&hi2c2, MAX77874_BUCK_CONV_WRITE_ADDRESS, i2c_data, 2, 100); // Select Output Voltage
	  HAL_I2C_Master_Transmit(&hi2c3, MAX77874_BUCK_CONV_WRITE_ADDRESS, i2c_data, 2, 100); // Select Output Voltage

	  HAL_Delay(500);

	  HAL_GPIO_WritePin(GPIOE, EN_Pin, GPIO_PIN_SET); // Enable converter. Set Pin EN to HIGH
	  HAL_Delay(1);

}

void find_high_pressure_spots()
{

	float temp = 0;

	// find two highest pressure spots
	max_1 = average_pressure_map[0];
	max_2 = average_pressure_map[1];

	index_max_1 = 0;
	index_max_2 = 1;

	if(max_1 < max_2){
		temp = max_1;
		max_1 = max_2;
		max_2 = temp;
	}

	for(int i=2; i<NUMBER_OF_SENSORS; i++){
		if(average_pressure_map[i] > max_1){
			max_2 = max_1;
			max_1 = average_pressure_map[i];
			index_max_2 = index_max_1;
			index_max_1 = i;
		}
		else if(average_pressure_map[i]> max_2 && average_pressure_map[i] != max_1){
			max_2 = average_pressure_map[i];
			index_max_2 = i;
		}
	}

}

void control_valves(int m, int n){

	int   flag           = 0;
	int   array_index[4] = {};
	float array[4];
	float a              = 0;
	int   b              = 0;

    // Are there any modules already OFF??
	if(counter_modules_off == 0){ //NO, turn off the two highest PP modules
		modules_state[m] = 0;
		modules_state[n] = 0;

	  	HAL_GPIO_WritePin(pin_port[m], valve_pins[m], GPIO_PIN_RESET);
	  	HAL_GPIO_WritePin(pin_port[n], valve_pins[n], GPIO_PIN_RESET);

		// set modules state on 64bit UL to zero
		modules_state_uint &= ~(1ULL << m);
		modules_state_uint &= ~(1ULL << n);
	}
	else if(counter_modules_off == 2){ // YES, find their indexes
		for(int j; j<NUMBER_OF_SENSORS; j++){
			if(modules_state[j] == 0){
				if(flag == 0){
					flag = 1;
					index_max_1_previous = j;

				}
				else if(flag == 1){
					flag = 2;
					index_max_2_previous = j;
				}
			}
		}
	}

	// array includes the two previous and two current high PP spots
	array[0] = previous_pressure_map[index_max_1_previous];
	array[1] = previous_pressure_map[index_max_2_previous];
	array[2] = average_pressure_map[m];
	array[3] = average_pressure_map[n];

	array_index[0] = index_max_1_previous;
	array_index[1] = index_max_2_previous;
	array_index[2] = m;
	array_index[3] = n;

	// descending sorting of array and changing place of array_index elements accordingly
	for(int i=0; i<4; i++){
		for(int j=i+1; j<4; j++){
			if(array[i] < array[j]){
				a = array[i];
				array[i] = array[j];
				array[j] = a;

				b = array_index[i];
				array_index[i] = array_index[j];
				array_index[j] = b;
			}
		}
	}

	HAL_GPIO_WritePin(pin_port[array_index[0]], valve_pins[array_index[0]], GPIO_PIN_RESET);
  	HAL_GPIO_WritePin(pin_port[array_index[1]], valve_pins[array_index[1]], GPIO_PIN_RESET);

	modules_state[array_index[0]] = 0;
	modules_state[array_index[1]] = 0;

	// set modules state on 64bit UL to one, close two lowest pressure modules
	modules_state_uint = 0xFFFFFFFFFF;

	// set modules state on 64bit UL to zero, open two high pressure modules
	modules_state_uint &= ~(1ULL << valve2SPIbit[array_index[0]]);
	modules_state_uint &= ~(1ULL << valve2SPIbit[array_index[1]]);

   // split the module_state_uint in 5 8bit uint
    //data_written_spi[0] = (modules_state_uint & 0x00000000ffULL)      ;
    //data_written_spi[1] = (modules_state_uint & 0x000000ff00ULL) >>  8;
    //data_written_spi[2] = (modules_state_uint & 0x0000ff0000ULL) >> 16;
    //data_written_spi[3] = (modules_state_uint & 0x00ff000000ULL) >> 24;
    //data_written_spi[4] = (modules_state_uint & 0xff00000000ULL) >> 32;

	/*-------- CHOOSE MODULES STATE WITH THESE BYTES ------------------*/

    counter_modules_off = 2;
}

void valves_autocontrol()
{
	for(int i=0; i<NUMBER_OF_SENSORS; i++){
		average_pressure_map[i] = average_pressure_map[i]/counter_average;
	}

	find_high_pressure_spots();

	control_valves(index_max_1, index_max_2);

	for(int i=0; i<NUMBER_OF_SENSORS; i++){
		previous_pressure_map[i] = average_pressure_map[i];
	}
	counter_average = 0;

	for(int i=0; i<NUMBER_OF_SENSORS; i++){
		average_pressure_map[i] = 0.0;
	}
}

void    configure_bluetooth(){

	  HAL_GPIO_WritePin(GPIOD, SW_BTN_Pin, GPIO_PIN_SET); // SW_BTN
	  HAL_GPIO_WritePin(GPIOB, WAKE_UP_Pin, GPIO_PIN_SET); // WAKE_UP pin
	  HAL_GPIO_WritePin(GPIOB, RST_Pin, GPIO_PIN_SET); // RST pin

}

void    select_ADC_channel(uint32_t channel){
	  ADC_ChannelConfTypeDef sConfig = {0};
	  /** Configure for the selected ADC regular channel its corresponding rank in the sequencer and its sample time.
	  */
	  sConfig.Channel = channel;
	  sConfig.Rank = 1;
	  if (HAL_ADC_ConfigChannel(&hadc1, &sConfig) != HAL_OK)
	  {
	    Error_Handler();
	  }
}

HAL_StatusTypeDef BM78_SetDeviceName() {
    // Define buffer for I2C communication
    uint8_t i2cData[32]; // Adjust the buffer size as needed

    // Convert the command string to bytes
    strcpy((char*)i2cData, BM78_SetNameCmd);

    // Perform I2C write operation to send the command to BM78
    HAL_StatusTypeDef status = HAL_I2C_Master_Transmit(&hi2c1, BM78_I2C_ADDRESS, i2cData, strlen(BM78_SetNameCmd), HAL_MAX_DELAY);

    return status;
}

void HAL_TIM_PeriodElapsedCallback(TIM_HandleTypeDef* htim)
{
	if(htim->Instance == TIM1)	autocontrol_timeout = 1;
	else if(htim->Instance == TIM2){
		select_ADC_channel(ADC_CHANNEL_3);

		HAL_ADC_Start(&hadc1); // start the ADC
		HAL_ADC_PollForConversion(&hadc1, 1000);  // poll for conversion
		value_BAT = HAL_ADC_GetValue(&hadc1);  // store adc value in value
		HAL_ADC_Stop(&hadc1);

		select_ADC_channel(ADC_CHANNEL_2);
	}
}

/* USER CODE END 4 */

void Error_Handler(void)
{
  __disable_irq();
  while (1)
  {
  }
}
